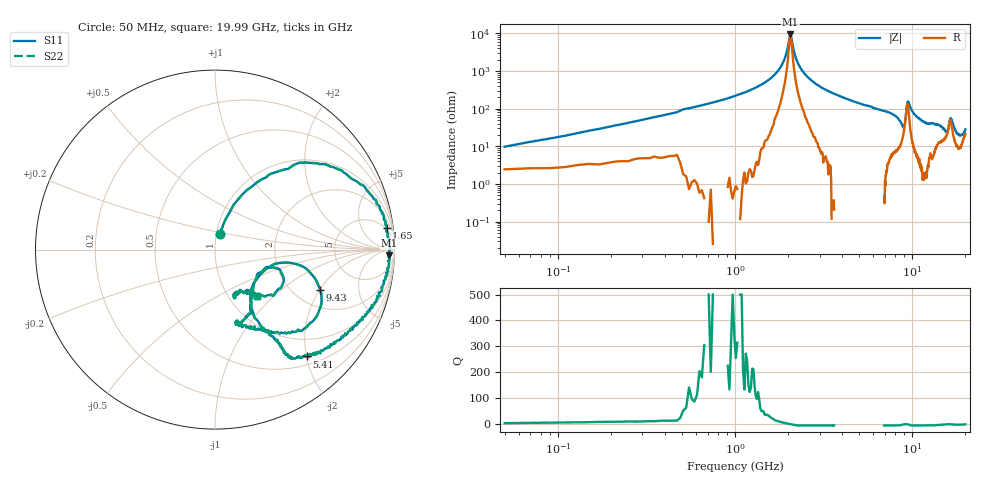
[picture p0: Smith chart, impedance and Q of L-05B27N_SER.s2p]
! Data Taken on a HP 8720C VNA using a series-through fixture with TRL* de-embedding
#	mhz	s	ma	r	50
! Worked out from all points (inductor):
!   998 points, 50 MHz to 19.99 GHz, reference 50 ohm
!   read as one part in series: L = 26.8 nH near 130 MHz
!   highest |Z| = 9.42 kohm at 2.05 GHz (marker M1)
!   self-resonance near 2.05 GHz
!   S11 on the Smith chart (normalised r, x): 50 MHz: 1.04, +0.18; 1.65 GHz: 4, +14; 5.41 GHz: 0.65, -2.01; 9.43 GHz: 2.74, -2.03; 19.99 GHz: 1.35, -0.79
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50  0.08967 72.8  0.9667 -5.5  0.9667 -5.5  0.08967 72.8
250  0.3754 61.9  0.8957 -22.2  0.8957 -22.2  0.3754 61.9
530  0.6893 44.6  0.6895 -45.2  0.6895 -45.2  0.6893 44.6
1010  0.8855 24.5  0.3963 -65.7  0.3963 -65.7  0.8855 24.5
1650  0.9639 7.3  0.1281 -80.0  0.1281 -80.0  0.9639 7.3
1850  0.9713 2.7  0.06286 -78.7  0.06286 -78.7  0.9713 2.7
2050  0.9717 -1.9  0.01032 -11.5  0.01032 -11.5  0.9717 -1.9
2270  0.9647 -6.3  0.06046 74.5  0.06046 74.5  0.9647 -6.3
2490  0.9609 -10.2  0.1169 75.7  0.1169 75.7  0.9609 -10.2
3390  0.9113 -23.5  0.3097 66.3  0.3097 66.3  0.9113 -23.5
5410  0.7854 -49.3  0.5836 47.4  0.5836 47.4  0.7854 -49.3
6710  0.6923 -55.8  0.6898 37.1  0.6898 37.1  0.6923 -55.8
8850  0.3214 -52.4  0.8287 10.4  0.8287 10.4  0.3214 -52.4
9190  0.3799 -11.1  0.6431 -5.7  0.6431 -5.7  0.3799 -11.1
9430  0.628 -20.9  0.4004 11.3  0.4004 11.3  0.628 -20.9
10030  0.6164 -49.1  0.6856 33.4  0.6856 33.4  0.6164 -49.1
11470  0.4574 -70.9  0.8462 20.5  0.8462 20.5  0.4574 -70.9
13350  0.4229 -68.3  0.8521 12.8  0.8521 12.8  0.4229 -68.3
16110  0.3115 -18.0  0.7902 -3.7  0.7902 -3.7  0.3115 -18.0
16670  0.4147 -32.9  0.7194 10.3  0.7194 10.3  0.4147 -32.9
18210  0.2667 -66.1  0.9042 3.8  0.9042 3.8  0.2667 -66.1
19990  0.3489 -47.6  0.8561 -0.1  0.8561 -0.1  0.3489 -47.6
